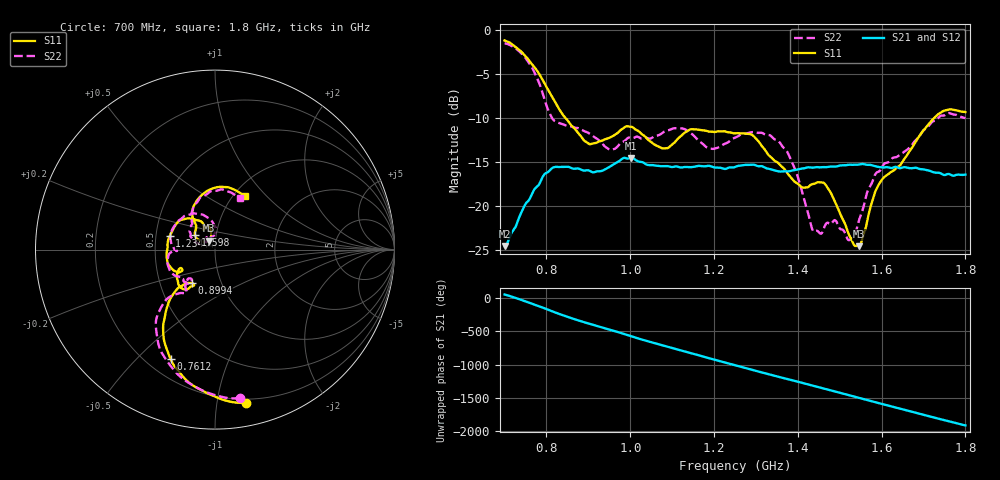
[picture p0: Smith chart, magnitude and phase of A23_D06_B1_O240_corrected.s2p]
! Created with skrf 1.9.0 (http://scikit-rf.org).
# Hz S RI R 50.0
!freq ReS11 ImS11 ReS21 ImS21 ReS12 ImS12 ReS22 ImS22
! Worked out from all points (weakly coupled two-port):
!   1601 points, 700 MHz to 1.8 GHz, reference 50 ohm
!   highest |S21| = -14.50 dB at 1.002 GHz (marker M1); lowest = -24.5 dB at 700 MHz (marker M2)
!   lowest |S11| = -24.5 dB at 1.545 GHz (marker M3), VSWR 1.13, Z = 46.6 + j4.61 ohm
!   |S11| at or under -10 dB: 846 MHz to 1.725 GHz (878.9 MHz wide, 68.4 % of centre)
!   |S22| runs from -23.8 to -1.5 dB; largest |S21 - S12| = 0.0034
!   S11 on the Smith chart (normalised r, x): 700 MHz: 0.17, -1.21; 761.2 MHz: 0.29, -0.63; 899.4 MHz: 0.72, -0.29; 1.234 GHz: 0.59, +0.09; 1.598 GHz: 0.79, +0.13; 1.8 GHz: 1.12, +0.76
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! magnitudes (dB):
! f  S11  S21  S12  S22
! 700 MHz  -1.2  -24.5  -24.3  -1.5
! 761.2 MHz  -3.6  -19.0  -18.9  -3.9
! 815.5 MHz  -7.7  -15.6  -15.7  -10.1
! 883.6 MHz  -12.1  -15.9  -15.8  -11.3
! 899.4 MHz  -12.9  -15.9  -15.9  -11.7
! 953 MHz  -12.2  -15.5  -15.5  -13.6
! 1.002 GHz  -11.0  -14.5  -14.6  -12.3
! 1.067 GHz  -13.2  -15.4  -15.4  -11.9
! 1.145 GHz  -11.3  -15.6  -15.6  -11.7
! 1.19 GHz  -11.5  -15.4  -15.5  -13.5
! 1.234 GHz  -11.6  -15.6  -15.7  -12.7
! 1.25 GHz  -11.7  -15.5  -15.5  -12.2
! 1.357 GHz  -15.3  -16.1  -16.0  -12.7
! 1.394 GHz  -17.3  -15.9  -15.9  -15.9
! 1.434 GHz  -17.5  -15.6  -15.6  -22.5
! 1.467 GHz  -17.6  -15.6  -15.5  -22.0
! 1.523 GHz  -23.3  -15.3  -15.3  -23.8
! 1.545 GHz  -24.5  -15.3  -15.2  -21.7
! 1.598 GHz  -17.2  -15.6  -15.5  -15.8
! 1.617 GHz  -16.3  -15.6  -15.6  -15.0
! 1.734 GHz  -9.6  -16.2  -16.2  -10.0
! 1.8 GHz  -9.3  -16.4  -16.4  -10.0
